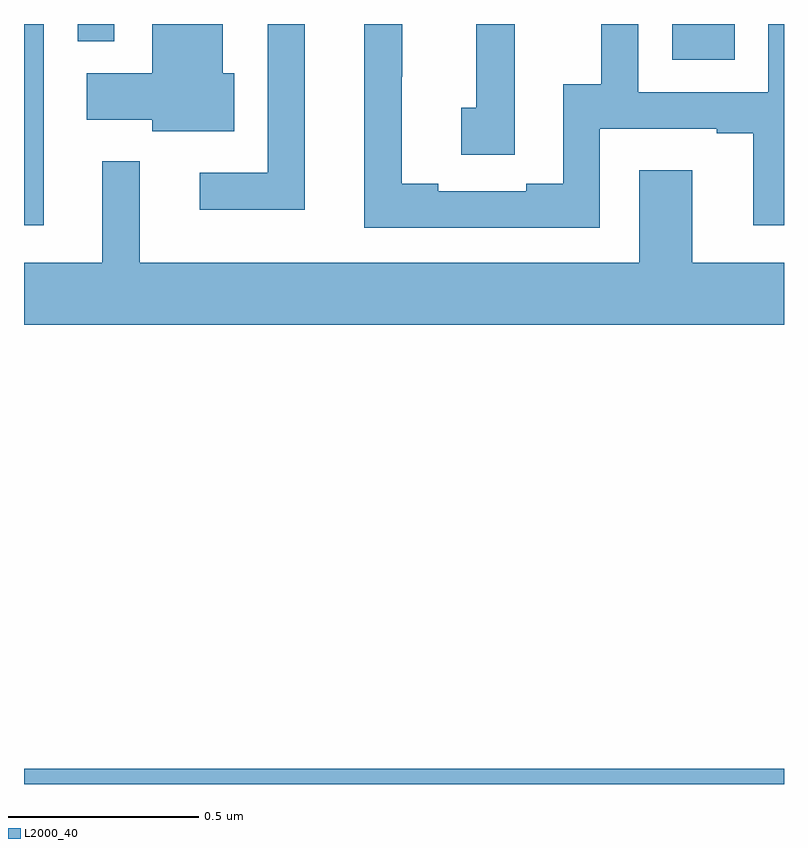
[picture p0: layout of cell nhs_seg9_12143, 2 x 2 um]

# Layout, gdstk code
import gdstk
lib = gdstk.Library(unit=1e-6, precision=1e-09)
def R(c, l, rs):  # rectangles x0, y0, x1, y1
    for r in rs: c.add(gdstk.rectangle(r[:2], r[2:], *l))
def P(c, l, *ps):  # polygons
    for p in ps: c.add(gdstk.Polygon(p, *l))
L2000_40 = (2000, 40)

nhs_seg9_12143 = lib.new_cell('nhs_seg9_12143')
R(nhs_seg9_12143, L2000_40, [(264,1240.5,266,1240.54), (264,1241.97,264.052,1242.5), (265.706,1242.406,265.87,1242.5), (264.141,1242.455,264.237,1242.5)])
P(nhs_seg9_12143, L2000_40, [(264.553,1242.37),(264.523,1242.37),(264.523,1242.5),(264.338,1242.5),(264.338,1242.37),(264.165,1242.37),(264.165,1242.248),(264.338,1242.248),(264.338,1242.218),(264.553,1242.218)],
  [(265.291,1242.5),(265.19,1242.5),(265.19,1242.28),(265.151,1242.28),(265.151,1242.156),(265.291,1242.156)],
  [(265.515,1242.225),(265.823,1242.225),(265.823,1242.213),(265.919,1242.213),(265.919,1241.97),(266,1241.97),(266,1242.5),(265.959,1242.5),(265.959,1242.321),(265.617,1242.321),(265.617,1242.5),(265.519,1242.5),(265.519,1242.341),(265.419,1242.341),(265.419,1242.08),(265.322,1242.08),(265.322,1242.06),(265.09,1242.06),(265.09,1242.08),(264.994,1242.08),(264.994,1242.361),(264.995,1242.361),(264.995,1242.5),(264.896,1242.5),(264.896,1241.964),(265.515,1241.964)],
  [(264.739,1242.5),(264.642,1242.5),(264.642,1242.108),(264.462,1242.108),(264.462,1242.011),(264.739,1242.011)],
  [(266,1241.872),(265.759,1241.872),(265.759,1242.115),(265.619,1242.115),(265.619,1241.872),(264.304,1241.872),(264.304,1242.139),(264.206,1242.139),(264.206,1241.872),(264,1241.872),(264,1241.708),(266,1241.708)])

lib.write_gds('nhs_seg9_12143.gds')
